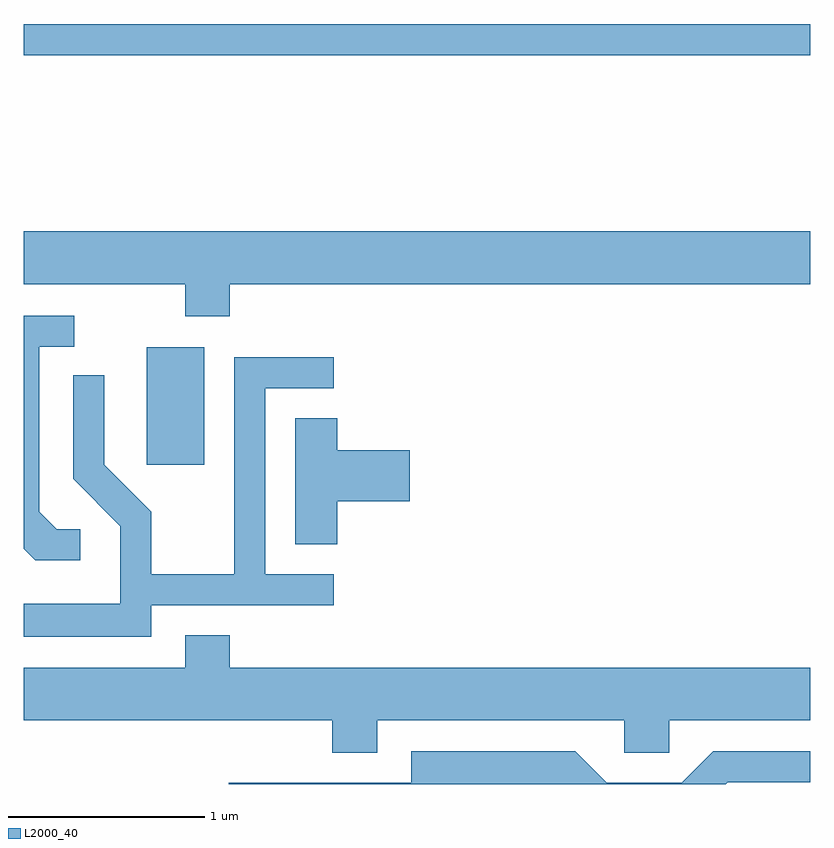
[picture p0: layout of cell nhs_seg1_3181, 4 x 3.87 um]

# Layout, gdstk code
import gdstk
lib = gdstk.Library(unit=1e-6, precision=1e-09)
def R(c, l, rs):  # rectangles x0, y0, x1, y1
    for r in rs: c.add(gdstk.rectangle(r[:2], r[2:], *l))
def P(c, l, *ps):  # polygons
    for p in ps: c.add(gdstk.Polygon(p, *l))
L2000_40 = (2000, 40)

nhs_seg1_3181 = lib.new_cell('nhs_seg1_3181')
R(nhs_seg1_3181, L2000_40, [(282.236,885.336,282.529,885.934), (281.611,887.421,285.611,887.579)])
P(nhs_seg1_3181, L2000_40, [(282.659,886.256),(285.611,886.256),(285.611,886.524),(281.611,886.524),(281.611,886.256),(282.431,886.256),(282.431,886.091),(282.659,886.091)],
  [(281.898,885.009),(281.777,885.009),(281.689,885.097),(281.689,885.936),(281.868,885.936),(281.868,886.094),(281.611,886.094),(281.611,884.909),(281.669,884.851),(281.898,884.851)],
  [(282.259,884.621),(283.188,884.621),(283.188,884.779),(282.839,884.779),(282.839,885.726),(283.188,885.726),(283.188,885.884),(282.681,885.884),(282.681,884.779),(282.259,884.779),(282.259,885.097),(282.019,885.337),(282.019,885.793),(281.861,885.793),(281.861,885.264),(282.101,885.024),(282.101,884.629),(281.611,884.629),(281.611,884.461),(282.259,884.461)],
  [(283.204,885.151),(283.574,885.151),(283.574,885.409),(283.204,885.409),(283.204,885.574),(282.991,885.574),(282.991,884.931),(283.204,884.931)],
  [(283.409,884.036),(284.666,884.036),(284.666,883.871),(284.894,883.871),(284.894,884.036),(285.611,884.036),(285.611,884.304),(282.659,884.304),(282.659,884.469),(282.431,884.469),(282.431,884.304),(281.611,884.304),(281.611,884.036),(283.181,884.036),(283.181,883.871),(283.409,883.871)],
  [(285.192,883.721),(285.611,883.721),(285.611,883.879),(285.119,883.879),(284.959,883.719),(284.577,883.719),(284.417,883.879),(283.581,883.879),(283.581,883.719),(282.653,883.719),(282.653,883.712),(285.183,883.712)])

lib.write_gds('nhs_seg1_3181.gds')
